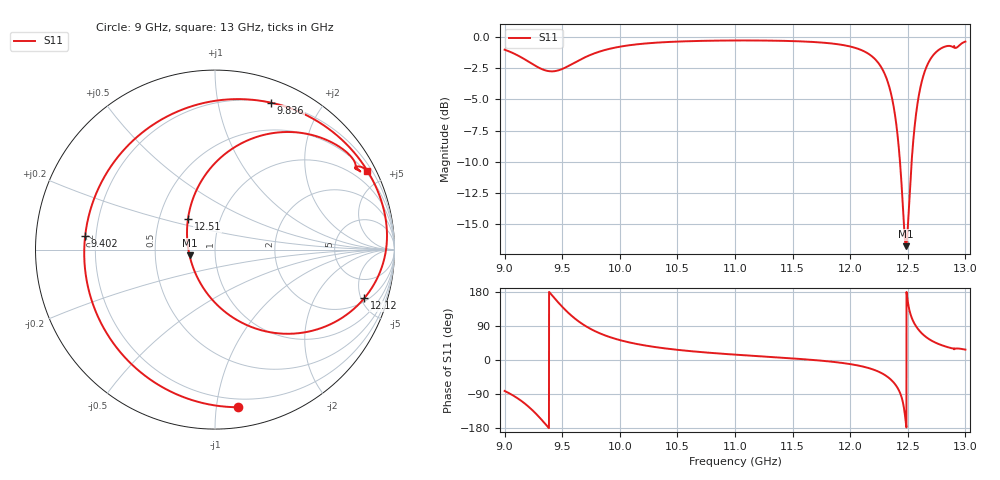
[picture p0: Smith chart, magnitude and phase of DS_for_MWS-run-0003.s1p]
! TOUCHSTONE file generated by CST DESIGN STUDIO
! Date and time: Tue Feb  4 13:02:16 2025
! Project name: C:\Work\MatlabApps\UnitCellOptimizationMatlab\CST\unitcell.cst
! Tree item: Tasks\Sweep1\SPara1\S-Parameters
! Header version: 2024
! Port assignment regex: !\s*Touchstone port\s*([0-9]+)\s*=\s*(CST MWS port|CST DES external port|CST DES block port)\s*(.+)\s* \(\"(.*)\"\)(\s*mode\s*([0-9]+))?.*
! Touchstone port assignment:
! Touchstone port 1 = CST DES external port 1 ("")
# GHz S MA R 50
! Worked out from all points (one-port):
!   4001 points, 9 GHz to 13 GHz, reference 50 ohm
!   lowest |S11| = -16.7 dB at 12.48 GHz (marker M1), VSWR 1.34, Z = 37.5 - j2.46 ohm
!   |S11| at or under -10 dB: 12.43 GHz to 12.53 GHz (100.9 MHz wide, 0.808 % of centre)
!   S11 on the Smith chart (normalised r, x): 9 GHz: 0.14, -1.15; 9.402 GHz: 0.16, +0.05; 9.836 GHz: 0.20, +1.43; 12.12 GHz: 2.30, -5.31; 12.51 GHz: 0.70, +0.25; 13 GHz: 0.39, +4.07
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9  0.8877 -81.7
9.11  0.844 -100.5
9.203  0.7978 -121.9
9.313  0.746 -154.9
9.402  0.7274 174.1
9.5  0.7434 140.5
9.572  0.7719 119.2
9.646  0.8053 101.1
9.836  0.8758 69.2
10  0.9124 52.5
10.216  0.9393 38.5
10.5  0.9565 26.9
11  0.9663 14.1
11.5  0.9608 4.2
12  0.9141 -10.8
12.121  0.8744 -18.1
12.259  0.7689 -32.5
12.365  0.5631 -55.2
12.425  0.3472 -81.5
12.484  0.1456 -167.2
12.5  0.173 154.2
12.514  0.2272 131.6
12.57  0.4838 89.8
12.648  0.7287 63.1
12.718  0.841 49.1
12.796  0.9024 38.9
12.895  0.9081 30.4
13  0.9566 27.4
